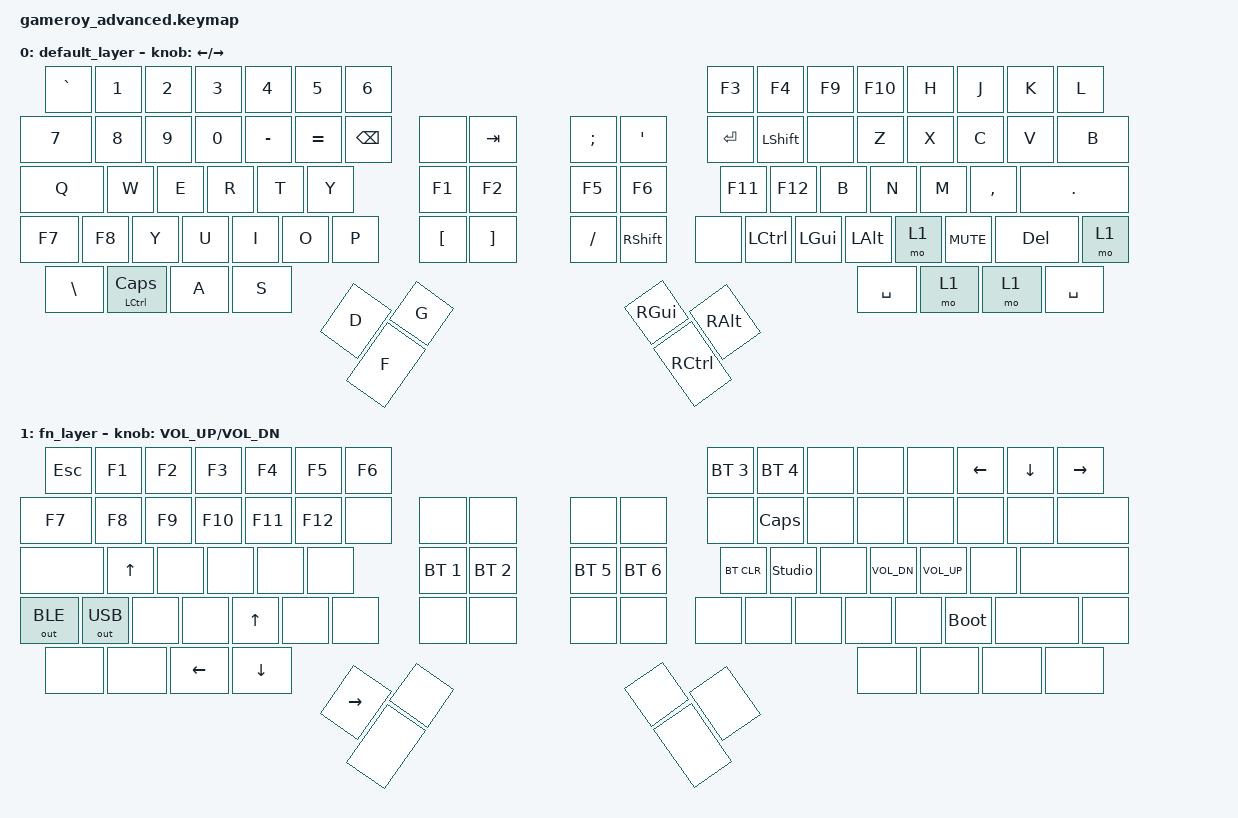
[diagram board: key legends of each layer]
#include <behaviors.dtsi>
#include <dt-bindings/zmk/keys.h>
#include <dt-bindings/zmk/bt.h>
#include <dt-bindings/zmk/outputs.h>

&mt {
    tapping-term-ms = <400>;
};

/ {
    keymap {
        compatible = "zmk,keymap";
                default_layer {
                    bindings = <
//      ┌─────────┬─────────┬─────────┬─────────┬─────────┬─────────┬─────────┐                                                   ┌─────────┬─────────┬─────────┬─────────┬─────────┬─────────┬─────────┬─────────┐
//      │   `~    │    1    │    2    │    3    │    4    │    5    │    6    │                                                   |    7    |     8   |    9    |    0    |    -    |    =    |  BSPC      *NONE  |
         &kp GRAVE   &kp N1    &kp N2    &kp N3   &kp N4    &kp N5    &kp N6                                                        &kp N7     &kp N8    &kp N9   &kp N0   &kp MINUS &kp EQUAL  &kp BSPC   &none
// ┌────┴─────────┼─────────┼─────────┼─────────┼─────────┼─────────┼─────────┤ ┌─────────┬─────────┐     ┌─────────┬─────────┐   ├─────────┼─────────┼─────────┼─────────┼─────────┼─────────┼─────────┼─────────┴───┐
// │      Tab     │    Q    │    W    │    E    │    R    │    T    │    Y    │ |   F1    |   F2    |     |   F7    |   F8    |   │    Y    │    U    │    I    │    O    │    P    |    [    |    ]    |      \      |
       &kp TAB       &kp Q     &kp W     &kp E     &kp R     &kp T     &kp Y      &kp F1     &kp F2          &kp F7    &kp F8        &kp Y     &kp U     &kp I     &kp O     &kp P   &kp LBKT   &kp RBKT    &kp BSLH
// ├──────────────┴──┬──────┴──┬──────┴──┬──────┴──┬──────┴──┬──────┴──┬──────┘ ├─────────┼─────────┤     ├─────────┼─────────┤   └─┬───────┴─┬───────┴─┬───────┴─┬───────┴─┬───────┴─┬───────┴─┬───────┴─────────────┤
// |    CAPS/CTRL    |    A    |    S    |    D    |    F    |    G    |        |   F3    |   F4    |     |   F9    |   F10   |     |     H   |    J    |    K    |    L    |   ;     |    '    |        ENTER        |
     &mt LCTRL CAPS     &kp A     &kp S    &kp D      &kp F     &kp G             &kp F3     &kp F4          &kp F9    &kp F10         &kp H     &kp J     &kp K     &kp L    &kp SEMI  &kp APOS       &kp ENTER
// ├──────────┬──────┴──┬──────┴──┬──────┴──┬──────┴──┬──────┴──┬──────┴──┐     ├─────────┼─────────┤     ├─────────┼─────────┤ ┌───┴─────┬───┴─────┬───┴─────┬───┴─────┬───┴─────┬───┴─────┬───┴────────────┬────────┤
// |  SHIFT      *NONE  |    Z    |    X    |    C    |    V    |    B    |     |   F5    |   F6    |     |   F11   |   F12   | │     B   │    N    │    M    │    ,    │    .    │    /    |     SHIFT        *NONE  |
    &kp LSHIFT   &none    &kp Z      &kp X     &kp C     &kp V     &kp B          &kp F5    &kp F6           &kp F11   &kp F12     &kp B      &kp N    &kp M   &kp COMMA  &kp DOT  &kp SLASH    &kp RSHIFT     &none
// └────┬─────┴─────┬───┴───────┬─┴─────────┼─────────┴─┬───────┴─────────┘     ├─────────┼─────────┘     └─────────┼─────────┤ └─────────┴─────────┴─────────┴───┬─────┴─────┬───┴───────┬─┴─────────┬──────┴────┬───┘                                                                                                                                                                                                   ┌─────────────────────────┐
//      |   CTRL    |    GUI    |    ALT    |    MO 1   |                       |   MUTE  |                         | DELETE  |                                   |    MO 1   |    ALT    |    GUI    |    CTRL   |
          &kp LCTRL   &kp LGUI    &kp LALT      &mo 1                            &kp C_MUTE                           &kp DEL                                         &mo 1     &kp RALT    &kp RGUI    &kp RCTRL
//      └───────────┴───────────┴───────────┴───────────┘             ┌─────────┼─────────┤                         ├─────────┼─────────┐                         └───────────┴───────────┴───────────┴───────────┘
//                                                                    |  SPACE  |   MO 1  |                         |   MO 1  |  SPACE  | 
                                                                       &kp SPACE   &mo 1                               &mo 1   &kp SPACE
//                                                                    └─────────┴─────────┘                         └─────────┴─────────┘
            >;  
//                                                          ┌─────────┬─────────┬─────────┐                         ┌─────────┬─────────┬─────────┐
//                                                          | Left Enconder: Left Right   |                         | No Encoder Installed(◡︵◡) |      
            sensor-bindings = <                                &inc_dec_kp LEFT RIGHT                                                              >;
//                                                          └─────────┴─────────┴─────────┘                         └─────────┴─────────┴─────────┘
        };

        fn_layer {
            bindings = <
//      ┌─────────┬─────────┬─────────┬─────────┬─────────┬─────────┬─────────┐                                                   ┌─────────┬─────────┬─────────┬─────────┬─────────┬─────────┬─────────┬─────────┐
//      │   ESC   |   F1    |   F2    |   F3    |   F4    |   F5    |   F6    |                                                   |   F7    |   F8    |   F9    |   F10   |   F11   |   F12   |              *    |
	  &kp ESC    &kp F1   &kp F2    &kp F3    &kp F4    &kp F5    &kp F6                                                         &kp F7    &kp F8    &kp F9    &kp F10  &kp F11   &kp F12    &none    &none
// ┌────┴─────────┼─────────┼─────────┼─────────┼─────────┼─────────┼─────────┤ ┌─────────┬─────────┐     ┌─────────┬─────────┐   ├─────────┼─────────┼─────────┼─────────┼─────────┼─────────┼─────────┼─────────┴───┐
// │              │         │    UP   │         │         │         │         │ |   BT1   |   BT2   |     |   BT    |   USB   |   │         │         │    UP   │         │         │         │         |             |
        &none        &none     &kp UP    &none     &none     &none     &none   &bt BT_SEL 1 &bt BT_SEL 2 &out OUT_BLE &out OUT_USB   &none     &none     &kp UP    &none     &none     &none     &none       &none
// ├──────────────┴──┬──────┴──┬──────┴──┬──────┴──┬──────┴──┬──────┴──┬──────┘ ├─────────┼─────────┤     ├─────────┼─────────┤   └─┬───────┴─┬───────┴─┬───────┴─┬───────┴─┬───────┴─┬───────┴─┬───────┴─────────────┤
// |                 |  LEFT   |   DOWN  |  RIGHT  |         |         |        |   BT3   |   BT4   |     |         |         |     |         |  LEFT   |   DOWN  |  RIGHT  |         |         |                     |
          &none       &kp LEFT  &kp DOWN  &kp RIGHT   &none     &none          &bt BT_SEL 3 &bt BT_SEL 4     &none     &none           &none    &kp LEFT  &kp DOWN &kp RIGHT   &none     &none           &none
// ├──────────┬──────┴──┬──────┴──┬──────┴──┬──────┴──┬──────┴──┬──────┴──┐     ├─────────┼─────────┤     ├─────────┼─────────┤ ┌───┴─────┬───┴─────┬───┴─────┬───┴─────┬───┴─────┬───┴─────┬───┴────────────┬────────┤
// |   CAPS        *    |         |         |         |         |         |     |   BT5   |   BT6   |     | BT CLEAR|ZMK UNLK | │         │  Vol Up │ Vol Dwn │         │         │         |                     *   |
     &kp CAPS    &none     &none     &none     &none     &none     &none       &bt BT_SEL 5 &bt BT_SEL 6  &bt BT_CLR &studio_unlock &none &kp C_VOL_DN &kp C_VOL_UP &none  &none     &none         &none       &none
// └────┬─────┴─────┬───┴───────┬─┴─────────┼─────────┴─┬───────┴─────────┘     ├─────────┼─────────┘     └─────────┼─────────┤ └─────────┴─────────┴─────────┴───┬─────┴─────┬───┴───────┬─┴─────────┬──────┴────┬───┘                                                                                                                                                                                                   ┌─────────────────────────┐
//      |           |           |           |           |                       |  RESET  |                         |         |                                   |           |           |           |           | 
            &none       &none        &none     &none                            &bootloader                            &none                                          &none       &none       &none       &none
//      └───────────┴───────────┴───────────┴───────────┘             ┌─────────┼─────────┤                         ├─────────┼─────────┐                         └───────────┴───────────┴───────────┴───────────┘
//                                                                    |         |         |                         |         |         |         
    	                                                                 &none     &none                               &none     &none       
//                                                                    └─────────┴─────────┘                         └─────────┴─────────┘ 
            >;
//                                                          ┌─────────┬─────────┬─────────┐                         ┌─────────┬─────────┬─────────┐
//                                                          | Left Enconder: Vol Up/Down  |                         | No Encoder Installed(◡︵◡) |    
            sensor-bindings = <                              &inc_dec_kp C_VOL_UP C_VOL_DN                                                         >;
//                                                          └─────────┴─────────┴─────────┘                         └─────────┴─────────┴─────────┘
        };
    };
};


// Formatting Keys and Guides
//    ┌ ─ ┬ ─ ┐
//    │   │   │
//    ├ ─ ┼ ─ ┤
//    │   │   │
//    └ ─ ┴ ─ ┘
//   1u: ┌─────────┐ (11 characters)
//1.25u: ┌───────────┐ (13 characters)
// 1.5u: ┌──────────────┐ (16 characters)
//1.75u: ┌────────────────┐ (19 characters)
//   2u: ┌───────────────────┐ (21 characters)
//2.25u: ┌─────────────────────┐ (23 characters)
//2.75u: ┌─────────────────────────┐ (27 characters)


    






